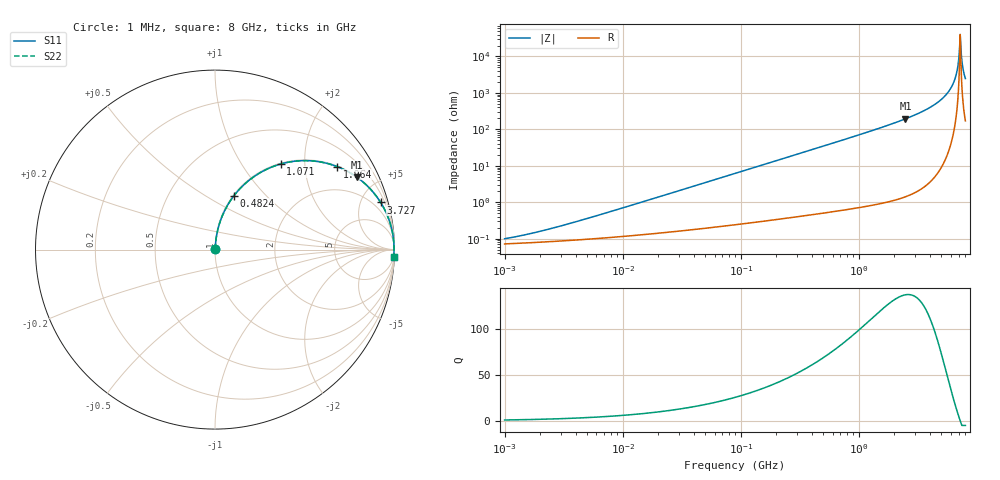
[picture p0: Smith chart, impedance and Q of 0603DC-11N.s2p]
# MHz  S  MA  R  50
!Freq  MagS11  AngS11  MagS21  AngS21  MagS12  AngS12  MagS22  AngS22
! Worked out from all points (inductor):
!   801 points, 1 MHz to 8 GHz, reference 50 ohm
!   read as one part in series: L = 11 nH near 4.027 MHz
!   highest Q = 138 at 2.487 GHz (marker M1), where L = 12.5 nH
!   self-resonance near 7.231 GHz
!   S11 on the Smith chart (normalised r, x): 1 MHz: 1.00, +0.00; 482.4 MHz: 1.01, +0.67; 1.071 GHz: 1.01, +1.51; 1.964 GHz: 1.02, +2.93; 3.727 GHz: 1.06, +7.01; 8 GHz: 4, -49
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1  0.0009973 43.8  0.9993 -0.0  0.9993 -0.0  0.0009973 43.8
4.505755  0.003251 72.9  0.9991 -0.2  0.9991 -0.2  0.003251 72.9
20.07503  0.01393 83.4  0.9985 -0.8  0.9985 -0.8  0.01393 83.4
90.45318  0.0623 84.2  0.9956 -3.6  0.9956 -3.6  0.0623 84.2
403.007  0.268 73.5  0.9591 -15.5  0.9591 -15.5  0.268 73.5
482.3634  0.3162 70.7  0.944 -18.4  0.944 -18.4  0.3162 70.7
1070.961  0.6007 52.5  0.7937 -36.9  0.7937 -36.9  0.6007 52.5
1795.566  0.7947 36.9  0.6009 -52.6  0.6009 -52.6  0.7947 36.9
1964.41  0.8232 34.2  0.5616 -55.4  0.5616 -55.4  0.8232 34.2
2487.072  0.8871 27.1  0.4551 -62.5  0.4551 -62.5  0.8871 27.1
3726.725  0.9596 15.9  0.2737 -73.6  0.2737 -73.6  0.9596 15.9
4935.133  0.986 8.9  0.1546 -80.4  0.1546 -80.4  0.986 8.9
5973.647  0.9949 4.4  0.0767 -84.0  0.0767 -84.0  0.9949 4.4
6318.789  0.9963 3.1  0.05414 -84.6  0.05414 -84.6  0.9963 3.1
6609.207  0.9971 2.1  0.03617 -84.3  0.03617 -84.3  0.9971 2.1
6759.383  0.9973 1.6  0.02722 -83.6  0.02722 -83.6  0.9973 1.6
6991.07  0.9975 0.8  0.01387 -79.3  0.01387 -79.3  0.9975 0.8
7149.923  0.9975 0.3  0.005294 -62.2  0.005294 -62.2  0.9975 0.3
7312.386  0.9975 -0.2  0.004948 59.4  0.004948 59.4  0.9975 -0.2
7478.54  0.9973 -0.8  0.01348 78.3  0.01348 78.3  0.9973 -0.8
7734.877  0.997 -1.5  0.02682 82.8  0.02682 82.8  0.997 -1.5
8000  0.9964 -2.3  0.04024 83.7  0.04024 83.7  0.9964 -2.3
